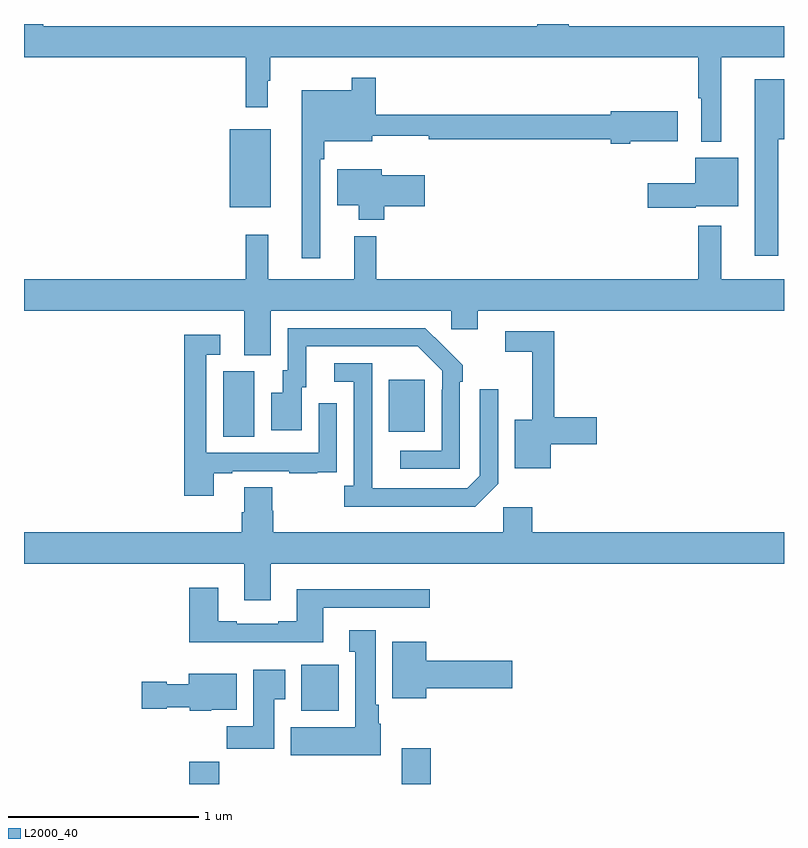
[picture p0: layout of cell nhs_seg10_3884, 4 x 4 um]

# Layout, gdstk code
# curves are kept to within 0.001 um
import gdstk
lib = gdstk.Library(unit=1e-6, precision=1e-09)
def R(c, l, rs):  # rectangles x0, y0, x1, y1
    for r in rs: c.add(gdstk.rectangle(r[:2], r[2:], *l))
def P(c, l, *ps):  # polygons
    for p in ps: c.add(gdstk.Polygon(p, *l))
L2000_40 = (2000, 40)

nhs_seg10_3884 = lib.new_cell('nhs_seg10_3884')
R(nhs_seg10_3884, L2000_40, [(325.871,1288.5,326.027,1288.616), (326.987,1288.5,327.14,1288.687), (326.459,1288.886,326.656,1289.128), (326.048,1290.328,326.212,1290.672), (326.921,1290.353,327.109,1290.628), (326.084,1291.535,326.299,1291.945)])
P(nhs_seg10_3884, L2000_40, [(328.669,1292.324),(329,1292.324),(329,1292.488),(327.866,1292.488),(327.866,1292.5),(327.701,1292.5),(327.701,1292.488),(325.1,1292.488),(325.1,1292.5),(325,1292.5),(325,1292.324),(326.167,1292.324),(326.167,1292.061),(326.284,1292.061),(326.284,1292.201),(326.296,1292.201),(326.296,1292.324),(328.548,1292.324),(328.548,1292.108),(328.565,1292.108),(328.565,1291.88),(328.669,1291.88)],
  [(326.559,1291.787),(326.579,1291.787),(326.579,1291.883),(326.833,1291.883),(326.833,1291.913),(327.129,1291.913),(327.129,1291.894),(328.088,1291.894),(328.088,1291.871),(328.192,1291.871),(328.192,1291.883),(328.441,1291.883),(328.441,1292.041),(328.088,1292.041),(328.088,1292.023),(326.852,1292.023),(326.852,1292.218),(326.724,1292.218),(326.724,1292.152),(326.462,1292.152),(326.462,1291.266),(326.559,1291.266)],
  [(328.969,1291.894),(329,1291.894),(329,1292.209),(328.847,1292.209),(328.847,1291.281),(328.969,1291.281)],
  [(328.536,1291.541),(328.759,1291.541),(328.759,1291.795),(328.532,1291.795),(328.532,1291.663),(328.284,1291.663),(328.284,1291.534),(328.536,1291.534)],
  [(326.897,1291.54),(327.109,1291.54),(327.109,1291.705),(326.884,1291.705),(326.884,1291.735),(326.648,1291.735),(326.648,1291.547),(326.762,1291.547),(326.762,1291.469),(326.897,1291.469)],
  [(326.299,1290.992),(327.249,1290.992),(327.249,1290.894),(327.388,1290.894),(327.388,1290.992),(329,1290.992),(329,1291.156),(328.669,1291.156),(328.669,1291.438),(328.548,1291.438),(328.548,1291.156),(326.855,1291.156),(326.855,1291.384),(326.738,1291.384),(326.738,1291.156),(326.285,1291.156),(326.285,1291.39),(326.167,1291.39),(326.167,1291.156),(325,1291.156),(325,1290.992),(326.159,1290.992),(326.159,1290.757),(326.299,1290.757)],
  [(327.294,1290.617),(327.309,1290.617),(327.309,1290.705),(327.112,1290.9),(326.388,1290.9),(326.388,1290.678),(326.363,1290.678),(326.363,1290.559),(326.3,1290.559),(326.3,1290.363),(326.461,1290.363),(326.461,1290.588),(326.485,1290.588),(326.485,1290.804),(327.073,1290.804),(327.201,1290.675),(327.201,1290.575),(327.198,1290.575),(327.198,1290.255),(326.979,1290.255),(326.979,1290.159),(327.294,1290.159)],
  [(327.772,1290.289),(328.015,1290.289),(328.015,1290.431),(327.791,1290.431),(327.791,1290.882),(327.534,1290.882),(327.534,1290.774),(327.674,1290.774),(327.674,1290.418),(327.584,1290.418),(327.584,1290.161),(327.772,1290.161)],
  [(325.999,1290.135),(326.095,1290.135),(326.095,1290.147),(326.395,1290.147),(326.395,1290.135),(326.543,1290.135),(326.543,1290.141),(326.645,1290.141),(326.645,1290.25),(326.646,1290.25),(326.646,1290.505),(326.55,1290.505),(326.55,1290.243),(325.959,1290.243),(325.959,1290.759),(326.032,1290.759),(326.032,1290.865),(325.843,1290.865),(325.843,1290.018),(325.999,1290.018)],
  [(327.495,1290.081),(327.495,1290.577),(327.399,1290.577),(327.399,1290.123),(327.333,1290.057),(326.833,1290.057),(326.832,1290.714),(326.634,1290.714),(326.634,1290.618),(326.736,1290.618),(326.736,1290.07),(326.685,1290.07),(326.685,1289.96),(327.374,1289.96)],
  [(326.299,1289.66),(329,1289.66),(329,1289.824),(327.674,1289.824),(327.674,1289.956),(327.522,1289.956),(327.522,1289.824),(326.312,1289.824),(326.312,1289.937),(326.307,1289.937),(326.307,1290.062),(326.159,1290.062),(326.159,1289.93),(326.147,1289.93),(326.147,1289.824),(325,1289.824),(325,1289.66),(326.159,1289.66),(326.159,1289.466),(326.299,1289.466)],
  [(326.575,1289.427),(327.136,1289.427),(327.136,1289.524),(326.435,1289.524),(326.435,1289.356),(326.339,1289.356),(326.339,1289.343),(326.119,1289.343),(326.119,1289.356),(326.023,1289.356),(326.023,1289.533),(325.871,1289.533),(325.871,1289.246),(326.575,1289.246)],
  [(326.878,1288.818),(326.866,1288.818),(326.866,1288.918),(326.851,1288.918),(326.851,1289.308),(326.711,1289.308),(326.711,1289.195),(326.744,1289.195),(326.744,1288.798),(326.405,1288.798),(326.405,1288.652),(326.878,1288.652)],
  [(327.118,1289.003),(327.571,1289.003),(327.571,1289.15),(327.118,1289.15),(327.118,1289.248),(326.939,1289.248),(326.939,1288.952),(327.118,1288.952)],
  [(326.317,1288.945),(326.374,1288.945),(326.374,1289.101),(326.207,1289.101),(326.207,1288.804),(326.068,1288.804),(326.068,1288.686),(326.317,1288.686)],
  [(325.986,1288.892),(326.119,1288.892),(326.119,1289.08),(325.868,1289.08),(325.868,1289.026),(325.752,1289.026),(325.752,1289.039),(325.62,1289.039),(325.62,1288.897),(325.752,1288.897),(325.752,1288.904),(325.872,1288.904),(325.872,1288.886),(325.986,1288.886)])

lib.write_gds('nhs_seg10_3884.gds')
